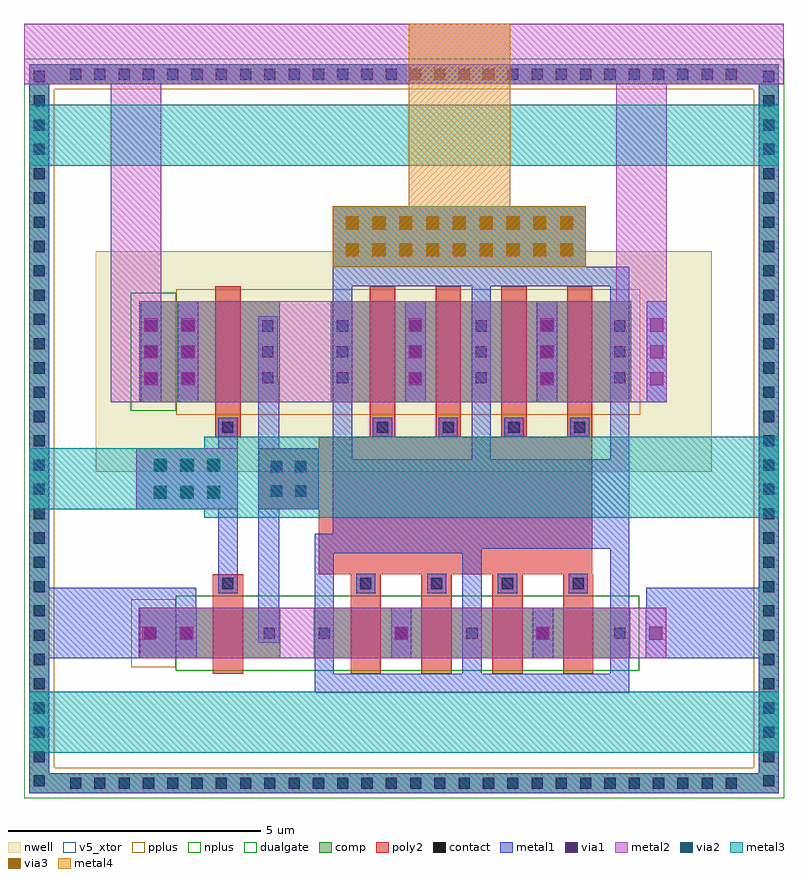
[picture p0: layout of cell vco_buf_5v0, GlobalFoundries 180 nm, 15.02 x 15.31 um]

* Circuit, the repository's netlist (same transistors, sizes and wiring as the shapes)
* Extracted by KLayout with GF180MCU LVS runset on : 17/10/2026 13:40

* cell vco_buf_5v0
* pin SUB
.SUBCKT vco_buf_5v0 SUB
* device instance $1 m90 *1 3.14,1.275 nfet_05v0
M$1 SUB \$6 \$9 SUB nfet_05v0 L=0.6U W=1U AS=0.73P AD=0.73P PS=3.46U PD=3.46U
* device instance $2 r0 *1 5.865,1.275 nfet_05v0
M$2 SUB \$9 \$1 SUB nfet_05v0 L=0.6U W=4U AS=1.93P AD=1.93P PS=8.86U PD=8.86U
* device instance $6 r0 *1 6.195,6.835 pfet_05v0
M$6 \$5 \$9 \$1 \$5 pfet_05v0 L=0.5U W=8U AS=3.94P AD=3.94P PS=13.94U PD=13.94U
* device instance $10 m90 *1 3.14,6.835 pfet_05v0
M$10 \$5 \$6 \$9 \$5 pfet_05v0 L=0.5U W=2U AS=1.54P AD=1.54P PS=5.54U PD=5.54U
.ENDS vco_buf_5v0

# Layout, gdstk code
from math import pi, radians
import gdstk
lib = gdstk.Library(unit=1e-6, precision=1e-09)
def R(c, l, rs):  # rectangles x0, y0, x1, y1
    for r in rs: c.add(gdstk.rectangle(r[:2], r[2:], *l))
def A(c, l, x, y, w, h, nx, ny, dx, dy):  # array of equal rectangles
    R(c, l, [(x+i*dx, y+j*dy, x+i*dx+w, y+j*dy+h) for i in range(nx) for j in range(ny)])
nwell = (21, 0)
comp = (22, 0)
poly2 = (30, 0)
pplus = (31, 0)
nplus = (32, 0)
contact = (33, 0)
metal1 = (34, 0)
via1 = (35, 0)
metal2 = (36, 0)
via2 = (38, 0)
via3 = (40, 0)
metal3 = (42, 0)
metal4 = (46, 0)
dualgate = (55, 0)
v5_xtor = (112, 1)

pfet = lib.new_cell('pfet')
R(pfet, nwell, [(-1.32,-1.37,3.17,2.99)])
R(pfet, comp, [(-0.46,0,2.31,2)])
R(pfet, poly2, [(0.31,-0.68,0.81,2.3)])
R(pfet, pplus, [(-0.63,-0.24,1.58,2.24)])
R(pfet, nplus, [(1.58,-0.17,2.48,2.17)])
A(pfet, contact, -0.34, 0.38, 0.22, 0.22, 1, 3, 0, 0.51)
A(pfet, contact, 1.24, 0.38, 0.22, 0.22, 1, 3, 0, 0.51)
A(pfet, contact, 1.97, 0.38, 0.22, 0.22, 1, 3, 0, 0.51)
R(pfet, contact, [(0.45,-0.6,0.67,-0.38)])
R(pfet, metal1, [(0.37,-0.68,0.75,-0.3), (-0.42,0.3,-0.04,1.7), (1.16,0.3,1.54,1.7), (1.89,0.3,2.27,1.7)])
R(pfet, dualgate, [(-1.82,-1.87,3.67,3.49)])
R(pfet, v5_xtor, [(-1.82,-1.87,3.67,3.49)])

pfet_3 = lib.new_cell('pfet$3')
R(pfet_3, nwell, [(-1.24,-1.29,6.26,2.91)])
R(pfet_3, comp, [(-0.46,0,5.48,2)])
A(pfet_3, poly2, 0.31, -0.68, 0.5, 2.98, 4, 1, 1.3, 0)
R(pfet_3, pplus, [(-0.63,-0.24,5.65,2.24)])
A(pfet_3, contact, 0.45, -0.6, 0.22, 0.22, 4, 1, 1.3, 0)
A(pfet_3, contact, -0.34, 0.38, 0.22, 0.22, 1, 3, 0, 0.51)
A(pfet_3, contact, 1.1, 0.38, 0.22, 0.22, 3, 3, 1.3, 0.51)
A(pfet_3, contact, 5.14, 0.38, 0.22, 0.22, 1, 3, 0, 0.51)
A(pfet_3, metal1, 0.37, -0.68, 0.38, 0.38, 4, 1, 1.3, 0)
A(pfet_3, metal1, 1.02, 0.3, 0.38, 1.4, 3, 1, 1.3, 0)
R(pfet_3, metal1, [(-0.42,0.3,-0.04,1.7), (5.06,0.3,5.44,1.7)])
R(pfet_3, dualgate, [(-1.74,-1.79,6.76,3.41)])
R(pfet_3, v5_xtor, [(-1.74,-1.79,6.76,3.41)])

via_dev_6 = lib.new_cell('via_dev$6')
R(via_dev_6, poly2, [(0,0,1.2,1.2)])
R(via_dev_6, contact, [(0.25,0.25,0.47,0.47), (0.73,0.25,0.95,0.47), (0.25,0.73,0.47,0.95), (0.73,0.73,0.95,0.95)])
R(via_dev_6, metal1, [(0,0,1.2,1.2)])

nfet_3 = lib.new_cell('nfet$3')
R(nfet_3, comp, [(-0.42,0,5.84,1)])
A(nfet_3, poly2, 0.31, -0.3, 0.6, 1.96, 4, 1, 1.4, 0)
R(nfet_3, nplus, [(-0.59,-0.24,6.01,1.24)])
A(nfet_3, contact, 1.2, 0.39, 0.22, 0.22, 3, 1, 1.4, 0)
A(nfet_3, contact, 0.5, 1.37, 0.22, 0.22, 4, 1, 1.4, 0)
R(nfet_3, contact, [(-0.32,0.39,-0.1,0.61), (5.52,0.39,5.74,0.61)])
A(nfet_3, metal1, 1.12, 0.31, 0.38, 0.38, 3, 1, 1.4, 0)
A(nfet_3, metal1, 0.42, 1.29, 0.38, 0.38, 4, 1, 1.4, 0)
R(nfet_3, metal1, [(-0.4,0.31,-0.02,0.69), (5.44,0.31,5.82,0.69)])
R(nfet_3, dualgate, [(-0.84,-0.71,6.26,2.08)])
R(nfet_3, v5_xtor, [(-0.84,-0.71,6.26,2.08)])

nfet = lib.new_cell('nfet')
R(nfet, comp, [(-0.42,0,2.35,1)])
R(nfet, poly2, [(0.31,-0.3,0.91,1.66)])
R(nfet, pplus, [(1.64,-0.17,2.52,1.17)])
R(nfet, nplus, [(-0.59,-0.24,1.64,1.24)])
R(nfet, contact, [(-0.32,0.39,-0.1,0.61), (1.32,0.39,1.54,0.61), (2.03,0.39,2.25,0.61), (0.5,1.37,0.72,1.59)])
R(nfet, metal1, [(-0.4,0.31,-0.02,0.69), (1.24,0.31,1.62,0.69), (1.95,0.31,2.33,0.69), (0.42,1.29,0.8,1.67)])
R(nfet, dualgate, [(-0.84,-0.71,2.77,2.08)])
R(nfet, v5_xtor, [(-0.84,-0.71,2.77,2.08)])

via_dev_3 = lib.new_cell('via_dev$3')
R(via_dev_3, metal1, [(0,0,2,1.2)])
A(via_dev_3, via1, 0.34, 0.205, 0.26, 0.26, 3, 2, 0.53, 0.53)
R(via_dev_3, metal2, [(0,0,2,1.2)])
A(via_dev_3, via2, 0.34, 0.205, 0.26, 0.26, 3, 2, 0.53, 0.53)
R(via_dev_3, metal3, [(0,0,2,1.2)])

via_dev_1 = lib.new_cell('via_dev$1')
R(via_dev_1, metal1, [(0,0,0.4,1)])
R(via_dev_1, via1, [(0.07,0.37,0.33,0.63)])
R(via_dev_1, metal2, [(0,0,0.4,1)])

via_dev_2 = lib.new_cell('via_dev$2')
R(via_dev_2, metal1, [(0,0,0.4,2)])
A(via_dev_2, via1, 0.07, 0.34, 0.26, 0.26, 1, 3, 0, 0.53)
R(via_dev_2, metal2, [(0,0,0.4,2)])

via_dev = lib.new_cell('via_dev')
R(via_dev, comp, [(0,0,0.4,14.41)])
A(via_dev, contact, 0.09, 0.135, 0.22, 0.22, 1, 30, 0, 0.48)
R(via_dev, metal1, [(0,0,0.4,14.41)])

via_dev_4 = lib.new_cell('via_dev$4')
R(via_dev_4, comp, [(0,0,13.8,0.4)])
A(via_dev_4, contact, 0.31, 0.09, 0.22, 0.22, 28, 1, 0.48, 0)
R(via_dev_4, metal1, [(0,0,13.8,0.4)])

via_dev_9 = lib.new_cell('via_dev$9')
R(via_dev_9, metal1, [(0,0,5,1.2)])
A(via_dev_9, via1, 0.25, 0.205, 0.26, 0.26, 9, 2, 0.53, 0.53)
R(via_dev_9, metal2, [(0,0,5,1.2)])
A(via_dev_9, via2, 0.25, 0.205, 0.26, 0.26, 9, 2, 0.53, 0.53)
A(via_dev_9, via3, 0.25, 0.205, 0.26, 0.26, 9, 2, 0.53, 0.53)
R(via_dev_9, metal3, [(0,0,5,1.2)])
R(via_dev_9, metal4, [(0,0,5,1.2)])

vco_buf_5v0 = lib.new_cell('vco_buf_5v0')
R(vco_buf_5v0, nwell, [(0.53,4.465,12.705,8.825)])
R(vco_buf_5v0, comp, [(-0.39,-1.89,-0.29,-1.49), (13.47,-1.89,13.63,-1.49), (-0.39,12.12,-0.29,12.52), (13.47,12.12,13.63,12.52)])
R(vco_buf_5v0, poly2, [(4.94,2.435,10.345,5.155)])
R(vco_buf_5v0, pplus, [(4.33,5.595,5.005,8.075)])
R(vco_buf_5v0, nplus, [(4.34,0.535,4.665,2.015)])
R(vco_buf_5v0, metal1, [(-0.39,-1.89,-0.29,-1.49), (13.47,-1.89,13.63,-1.49), (-0.605,0.775,2.51,2.175), (11.405,0.775,14.03,2.175), (3.74,1.085,4.15,6.245), (5.215,2.945,10.745,4.715), (-0.39,12.12,-0.29,12.52), (13.47,12.12,13.63,12.52)])
R(vco_buf_5v0, metal2, [(1.375,0.775,11.8,1.775), (1,5.835,11.815,7.835)])
R(vco_buf_5v0, metal3, [(-0.79,-1.085,14.03,0.115), (2.675,3.555,14.025,5.155), (-0.79,3.725,2.675,4.925), (-0.79,10.515,14.03,11.715)])
R(vco_buf_5v0, dualgate, [(-0.89,-1.99,14.13,12.625)])
R(vco_buf_5v0, v5_xtor, [(-0.89,-1.99,14.13,12.625)])
vco_buf_5v0.add(gdstk.FlexPath([(3.14,5.535),(3.14,2.065)], 0.38, ends="flush", simple_path=True, layer=34, datatype=0))  # metal1
vco_buf_5v0.add(gdstk.FlexPath([(10.885,6.325),(10.885,1.085)], 0.38, ends="flush", simple_path=True, layer=34, datatype=0))  # metal1
vco_buf_5v0.add(gdstk.FlexPath([(8.145,6.215),(8.145,3.965)], 0.38, ends="flush", simple_path=True, layer=34, datatype=0))  # metal1
vco_buf_5v0.add(gdstk.FlexPath([(5.405,6.23),(5.405,3.965)], 0.38, ends="flush", simple_path=True, layer=34, datatype=0))  # metal1
vco_buf_5v0.add(gdstk.FlexPath([(7.965,1.205),(7.965,3.965)], 0.38, ends="flush", simple_path=True, layer=34, datatype=0))  # metal1
vco_buf_5v0.add(gdstk.FlexPath([(5.045,1.255),(5.045,3.045),(7.775,3.045)], 0.38, ends="flush", simple_path=True, layer=34, datatype=0))  # metal1
vco_buf_5v0.add(gdstk.FlexPath([(10.885,7.355),(10.885,8.325),(8.145,8.325),(8.145,7.235)], 0.38, ends="flush", simple_path=True, layer=34, datatype=0))  # metal1
vco_buf_5v0.add(gdstk.FlexPath([(8.145,7.235),(8.145,8.325),(5.405,8.325),(5.405,7.235)], 0.38, ends="flush", simple_path=True, layer=34, datatype=0))  # metal1
vco_buf_5v0.add(gdstk.FlexPath([(10.885,1.385),(10.885,0.285),(7.965,0.285),(7.965,1.385)], 0.38, ends="flush", simple_path=True, layer=34, datatype=0))  # metal1
vco_buf_5v0.add(gdstk.FlexPath([(7.965,1.385),(7.965,0.285),(5.045,0.285),(5.045,1.385)], 0.38, ends="flush", simple_path=True, layer=34, datatype=0))  # metal1
vco_buf_5v0.add(gdstk.FlexPath([(1.32,5.835),(1.32,12.52)], 1, ends="flush", simple_path=True, layer=36, datatype=0))  # metal2
vco_buf_5v0.add(gdstk.FlexPath([(11.315,5.835),(11.315,12.52)], 1, ends="flush", simple_path=True, layer=36, datatype=0))  # metal2
vco_buf_5v0.add(gdstk.FlexPath([(-0.89,12.72),(14.125,12.72)], 1.2, ends="flush", simple_path=True, layer=36, datatype=0))  # metal2
vco_buf_5v0.add(gdstk.FlexPath([(7.715,9.055),(7.715,13.32)], 2, ends="flush", simple_path=True, layer=46, datatype=0))  # metal4
vco_buf_5v0.add(gdstk.FlexPath([(-0.59,12.52),(-0.59,-1.69),(13.83,-1.69),(13.83,12.325),(-0.89,12.325)], 0.6, ends="flush", simple_path=True, layer=31, datatype=0))  # pplus
vco_buf_5v0.add(gdstk.Reference(pfet, (3.7,5.835), rotation=pi, x_reflection=True))
vco_buf_5v0.add(gdstk.Reference(pfet_3, (5.635,5.835)))
vco_buf_5v0.add(gdstk.Reference(via_dev_6, (3.74,3.725)))
vco_buf_5v0.add(gdstk.Reference(nfet_3, (5.255,0.775)))
vco_buf_5v0.add(gdstk.Reference(nfet, (3.75,0.775), rotation=pi, x_reflection=True))
vco_buf_5v0.add(gdstk.Reference(via_dev_3, (1.33,3.725)))
vco_buf_5v0.add(gdstk.Reference(via_dev_1, (2.12,0.775)))
vco_buf_5v0.add(gdstk.Reference(via_dev_1, (6.365,0.775)))
vco_buf_5v0.add(gdstk.Reference(via_dev_1, (9.165,0.775)))
vco_buf_5v0.add(gdstk.Reference(via_dev_1, (11.395,0.775)))
vco_buf_5v0.add(gdstk.Reference(via_dev_2, (2.15,5.835)))
vco_buf_5v0.add(gdstk.Reference(via_dev_2, (6.645,5.835)))
vco_buf_5v0.add(gdstk.Reference(via_dev, (-0.79,-1.89)))
vco_buf_5v0.add(gdstk.Reference(via_dev_4, (-0.29,12.12)))
vco_buf_5v0.add(gdstk.Reference(via_dev, (13.63,-1.89)))
vco_buf_5v0.add(gdstk.Reference(via_dev_4, (-0.29,-1.89)))
vco_buf_5v0.add(gdstk.Reference(via_dev_9, (5.215,8.515)))
vco_buf_5v0.add(gdstk.Reference(via_dev_2, (1.42,5.835)))
vco_buf_5v0.add(gdstk.Reference(via_dev_1, (1.375,0.775)))
vco_buf_5v0.add(gdstk.Reference(via_dev_2, (9.245,5.835)))
vco_buf_5v0.add(gdstk.Reference(via_dev_2, (11.415,5.835)))

lib.write_gds('vco_buf_5v0.gds')
